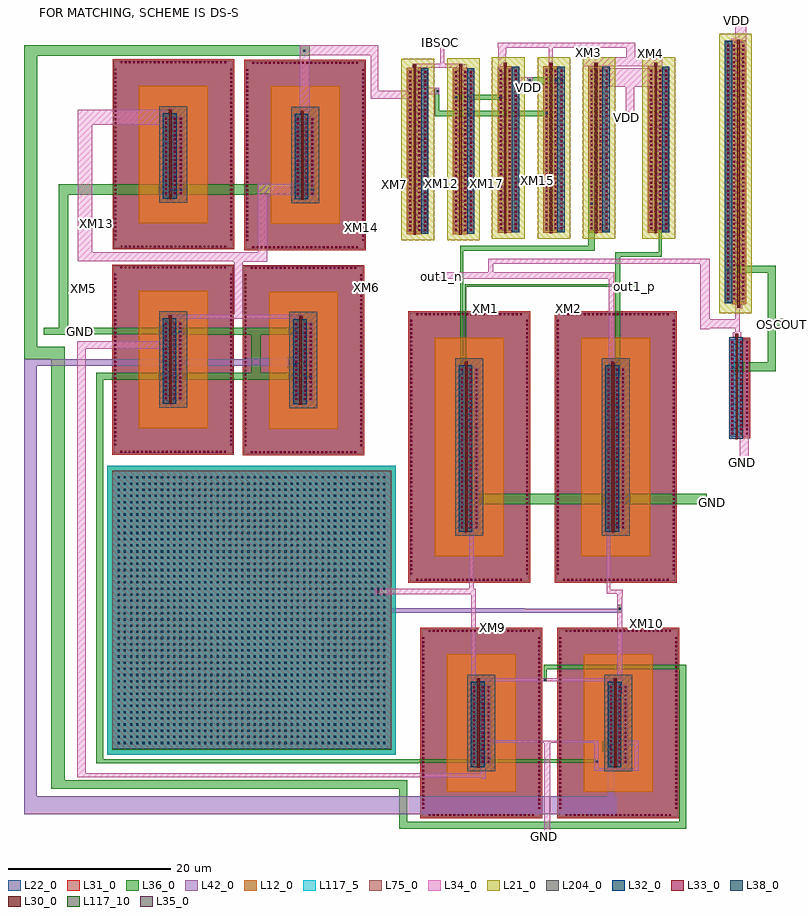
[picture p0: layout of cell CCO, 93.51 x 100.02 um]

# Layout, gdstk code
from math import pi, radians
import gdstk
lib = gdstk.Library(unit=1e-6, precision=5e-09)
def R(c, l, rs):  # rectangles x0, y0, x1, y1
    for r in rs: c.add(gdstk.rectangle(r[:2], r[2:], *l))
def A(c, l, x, y, w, h, nx, ny, dx, dy):  # array of equal rectangles
    R(c, l, [(x+i*dx, y+j*dy, x+i*dx+w, y+j*dy+h) for i in range(nx) for j in range(ny)])
def P(c, l, *ps):  # polygons
    for p in ps: c.add(gdstk.Polygon(p, *l))
L12_0 = (12, 0)
L21_0 = (21, 0)
L22_0 = (22, 0)
L30_0 = (30, 0)
L31_0 = (31, 0)
L32_0 = (32, 0)
L33_0 = (33, 0)
L34_0 = (34, 0)
L35_0 = (35, 0)
L36_0 = (36, 0)
L38_0 = (38, 0)
L42_0 = (42, 0)
L75_0 = (75, 0)
L117_5 = (117, 5)
L117_10 = (117, 10)
L204_0 = (204, 0)

pfet = lib.new_cell('pfet')
R(pfet, L21_0, [(-1.32,-0.99,2.71,21.37)])
R(pfet, L22_0, [(-0.46,0,1.85,20)])
P(pfet, L30_0, [(0.19,-0.3),(0.19,20.3),(0.14,20.3),(0.14,20.68),(0.52,20.68),(0.52,20.3),(0.47,20.3),(0.47,-0.3)])
R(pfet, L31_0, [(-0.63,-0.24,1.12,20.24)])
R(pfet, L32_0, [(1.12,-0.17,2.02,20.17)])
A(pfet, L33_0, -0.34, 0.2, 0.22, 0.22, 1, 39, 0, 0.51)
A(pfet, L33_0, 0.78, 0.2, 0.22, 0.22, 1, 39, 0, 0.51)
A(pfet, L33_0, 1.51, 0.2, 0.22, 0.22, 1, 39, 0, 0.51)
R(pfet, L33_0, [(0.22,20.38,0.44,20.6)])
R(pfet, L34_0, [(-0.42,0.12,-0.04,19.88), (0.7,0.12,1.08,19.88), (1.43,0.12,1.81,19.88), (0.14,20.3,0.52,20.68)])

nfet_7 = lib.new_cell('nfet$7')
R(nfet_7, L12_0, [(-3.55,-3.26,4.92,23.63)])
R(nfet_7, L22_0, [(-6.63,-6.34,8,26.71), (-0.42,0,1.79,20)])
P(nfet_7, L30_0, [(0.19,-0.3),(0.19,20.3),(0.15,20.3),(0.15,20.66),(0.51,20.66),(0.51,20.3),(0.47,20.3),(0.47,-0.3)])
R(nfet_7, L31_0, [(-6.8,-6.51,8.17,26.88), (1.08,-0.17,1.96,20.17)])
R(nfet_7, L32_0, [(-0.59,-0.24,1.08,20.24)])
A(nfet_7, L33_0, -5.8, -6.26, 0.22, 0.22, 26, 2, 0.51, 32.67)
A(nfet_7, L33_0, -6.55, -5.48, 0.22, 0.22, 1, 62, 0, 0.51)
A(nfet_7, L33_0, 7.7, -5.48, 0.22, 0.22, 1, 62, 0, 0.51)
A(nfet_7, L33_0, -0.32, 0.2, 0.22, 0.22, 1, 39, 0, 0.51)
A(nfet_7, L33_0, 0.76, 0.2, 0.22, 0.22, 1, 39, 0, 0.51)
A(nfet_7, L33_0, 1.47, 0.2, 0.22, 0.22, 1, 39, 0, 0.51)
R(nfet_7, L33_0, [(0.22,20.37,0.44,20.59)])
R(nfet_7, L34_0, [(-0.4,0.12,-0.02,19.88), (0.68,0.12,1.06,19.88), (1.39,0.12,1.77,19.88), (0.14,20.29,0.52,20.67)])
R(nfet_7, L204_0, [(-1.04,-0.75,2.41,21.12)])

nfet_5 = lib.new_cell('nfet$5')
R(nfet_5, L12_0, [(-3.55,-3.26,4.92,13.63)])
R(nfet_5, L22_0, [(-6.63,-6.34,8,16.71), (-0.42,0,1.79,10)])
P(nfet_5, L30_0, [(0.19,-0.3),(0.19,10.3),(0.15,10.3),(0.15,10.66),(0.51,10.66),(0.51,10.3),(0.47,10.3),(0.47,-0.3)])
R(nfet_5, L31_0, [(-6.8,-6.51,8.17,16.88), (1.08,-0.17,1.96,10.17)])
R(nfet_5, L32_0, [(-0.59,-0.24,1.08,10.24)])
A(nfet_5, L33_0, -5.8, -6.26, 0.22, 0.22, 26, 2, 0.51, 22.67)
A(nfet_5, L33_0, -6.55, -5.38, 0.22, 0.22, 1, 42, 0, 0.51)
A(nfet_5, L33_0, 7.7, -5.38, 0.22, 0.22, 1, 42, 0, 0.51)
A(nfet_5, L33_0, -0.32, 0.3, 0.22, 0.22, 1, 19, 0, 0.51)
A(nfet_5, L33_0, 0.76, 0.3, 0.22, 0.22, 1, 19, 0, 0.51)
A(nfet_5, L33_0, 1.47, 0.3, 0.22, 0.22, 1, 19, 0, 0.51)
R(nfet_5, L33_0, [(0.22,10.37,0.44,10.59)])
R(nfet_5, L34_0, [(-0.4,0.22,-0.02,9.78), (0.68,0.22,1.06,9.78), (1.39,0.22,1.77,9.78), (0.14,10.29,0.52,10.67)])
R(nfet_5, L204_0, [(-1.04,-0.75,2.41,11.12)])

text = lib.new_cell('TEXT')

cap_mim = lib.new_cell('cap_mim')
R(cap_mim, L36_0, [(-0.6,-0.6,34.92,34.92)])
A(cap_mim, L38_0, 0.69, 0.69, 0.26, 0.26, 44, 44, 0.76, 0.76)
R(cap_mim, L42_0, [(0,0,34.32,34.32)])
R(cap_mim, L75_0, [(0,0,34.32,34.32)])
R(cap_mim, L117_5, [(-0.6,-0.6,34.92,34.92)])
R(cap_mim, L117_10, [(0,0,34.32,0.1)])

pfet_2 = lib.new_cell('pfet$2')
R(pfet_2, L21_0, [(-1.32,-0.99,2.71,33.37)])
R(pfet_2, L22_0, [(-0.46,0,1.85,32)])
P(pfet_2, L30_0, [(0.19,-0.3),(0.19,32.3),(0.14,32.3),(0.14,32.68),(0.52,32.68),(0.52,32.3),(0.47,32.3),(0.47,-0.3)])
R(pfet_2, L31_0, [(-0.63,-0.24,1.12,32.24)])
R(pfet_2, L32_0, [(1.12,-0.17,2.02,32.17)])
A(pfet_2, L33_0, -0.34, 0.335, 0.22, 0.22, 1, 62, 0, 0.51)
A(pfet_2, L33_0, 0.78, 0.335, 0.22, 0.22, 1, 62, 0, 0.51)
A(pfet_2, L33_0, 1.51, 0.335, 0.22, 0.22, 1, 62, 0, 0.51)
R(pfet_2, L33_0, [(0.22,32.38,0.44,32.6)])
R(pfet_2, L34_0, [(-0.42,0.255,-0.04,31.745), (0.7,0.255,1.08,31.745), (1.43,0.255,1.81,31.745), (0.14,32.3,0.52,32.68)])

nfet = lib.new_cell('nfet')
R(nfet, L22_0, [(-0.42,0,1.79,12)])
P(nfet, L30_0, [(0.19,-0.3),(0.19,12.3),(0.15,12.3),(0.15,12.66),(0.51,12.66),(0.51,12.3),(0.47,12.3),(0.47,-0.3)])
R(nfet, L31_0, [(1.08,-0.17,1.96,12.17)])
R(nfet, L32_0, [(-0.59,-0.24,1.08,12.24)])
A(nfet, L33_0, -0.32, 0.28, 0.22, 0.22, 1, 23, 0, 0.51)
A(nfet, L33_0, 0.76, 0.28, 0.22, 0.22, 1, 23, 0, 0.51)
A(nfet, L33_0, 1.47, 0.28, 0.22, 0.22, 1, 23, 0, 0.51)
R(nfet, L33_0, [(0.22,12.37,0.44,12.59)])
R(nfet, L34_0, [(-0.4,0.2,-0.02,11.8), (0.68,0.2,1.06,11.8), (1.39,0.2,1.77,11.8), (0.14,12.29,0.52,12.67)])

cco = lib.new_cell('CCO')
R(cco, L22_0, [(-6.03,9.55,-5.51,9.91)])
R(cco, L34_0, [(30.9,-52.23,31.64,-40.45), (23.16,-45.12,23.73,-41.83), (-26.55,-44.95,-23.39,-44.43), (-26.55,-44.95,-25.5,-22.32), (-24.18,-44.95,8.85,-44.43), (6.64,-44.95,23.73,-44.43), (37.07,-44.13,37.56,-40.45), (37.07,-44.13,42.52,-43.84), (42.07,-44.13,42.52,-40.46), (40.72,-40.93,42.52,-40.46), (23.87,-40.67,29.69,-40.4), (29.47,-40.67,30.5,-40.45), (30.28,-40.67,33,-40.45), (32.49,-40.67,37.56,-40.45), (39.92,-34.7,40.49,-22.37), (21.955,-34.61,22.46,-22.06), (22.62,-33.16,39.85,-32.78), (-26.55,-24.33,-25.5,8.72), (40.03,-22.6,40.58,-21.85), (10.13,-22.45,22.46,-21.76), (21.67,-22.45,22.46,-21.76), (38.63,-22.37,40.58,-21.85), (38.63,-22.35,39.01,-13.31), (21.67,-22.06,22.24,-13.53), (54.95,-5.83,56.06,-1.87), (38.87,5.78,39.55,12.37), (-26.55,7.79,-15.65,8.72), (54.1,9.2,55.17,9.79), (54.44,9.2,54.97,13.28), (50.085,10.18,51.29,18.87), (50.085,10.28,54.97,11.43), (-15.3,11.48,1.12,11.93), (-7.22,11.48,-6.21,18.79), (38.87,11.81,39.55,17.18), (54.44,12.72,55.27,13.28), (18.01,16.4,39.55,17.18), (24.04,16.4,24.65,18.87), (24.345,17.635,24.65,18.87), (24.04,18.25,51.29,18.87), (-7.39,18.51,-3.16,19.64), (-4.35,18.51,-3.16,28.08), (-26.5,18.52,-24.7,37.17), (-26.48,18.52,-6.49,19.64), (-7.5,18.52,-6.49,19.64), (-4.35,26.65,0.78,28.08), (-26.5,35.33,-23.42,37.17), (-24.88,35.33,-14.89,37.17), (0.81,35.78,2.05,45.09), (40.92,36.85,42.01,42.29), (9.56,38.56,14.6,39.55), (9.56,38.66,10.46,45.09), (15.34,39.06,18.01,39.92), (37.46,40.04,45.37,42.29), (26.49,40.32,29.48,41.2), (20.43,41.52,21.37,42.8), (25.27,41.9,26.2,44.37), (14.66,42.36,20.87,42.83), (18.14,42.36,18.58,45.48), (35.63,42.53,45.41,43.66), (40.98,42.53,42.13,45.43), (31.44,42.59,31.93,45.43), (0.81,43.88,10.46,45.09), (25.26,44.02,26.24,45.43), (53.89,44.71,55.78,45.92), (54.4,44.71,55.78,47.79), (25.19,44.81,41.4,45.43)])
P(cco, L34_0, [(50.04,18.87),(50.04,18.87),(50.13,18.87),(50.13,18.87)])
R(cco, L35_0, [(37.24,-43.17,37.5,-42.91), (38.855,-41.24,39.115,-40.98), (30.92,-33.105,31.18,-32.845), (10.36,-22.22,10.62,-21.96), (2.02,4.255,2.28,4.515), (20.65,4.54,20.91,4.8), (39.77,4.54,40.03,4.8), (53.89,5.345,54.15,5.605), (0.245,5.76,0.505,6.02), (-14.74,9.75,-14.48,10.01), (-14.05,9.75,-13.79,10.01), (0.23,9.75,0.49,10.01), (20.65,16.59,20.91,16.85), (53.44,17.34,53.7,17.6), (36.6,25.5,36.86,25.76), (45.05,25.5,45.31,25.76), (-13.92,27.22,-13.66,27.48), (2.27,27.22,2.53,27.48), (-15.15,27.225,-14.89,27.485), (-14.67,27.225,-14.41,27.485), (31.09,36.62,31.35,36.88), (19.97,38.575,20.23,38.835), (21.73,38.575,21.99,38.835), (25.4,38.6,25.66,38.86), (17.67,39.34,17.93,39.6), (29,40.67,29.26,40.93), (32.19,40.67,32.45,40.93), (32.96,40.67,33.22,40.93), (1.23,44.31,1.49,44.57)])
R(cco, L36_0, [(13.07,-51.31,48.38,-50.44), (13.07,-51.31,14.07,-45.32), (47.52,-51.31,48.38,-31.11), (-29.74,-46.36,0.9,-45.32), (-29.74,-46.36,-28.06,8.05), (-1.28,-46.36,14.07,-45.32), (-24.22,-43.23,-7.22,-42.75), (-24.22,-43.23,-23.33,-28.52), (-7.8,-43.23,15.38,-42.75), (14.39,-43.17,37.5,-42.75), (38.035,-41.82,39.735,-40.49), (30.84,-33.16,31.235,-31.11), (30.84,-31.65,48.38,-31.11), (-24.22,-29.49,-23.33,-6.04), (39.92,-24.68,40.49,-23.73), (3.77,-23.25,11.24,-19.58), (22.38,-11.35,43.95,-10.04), (41.96,-11.35,50.92,-10.04), (-24.22,-6.98,-23.33,4.82), (20.58,3.07,20.97,20.43), (-24.22,3.96,1.66,4.82), (-5.13,3.96,-3.99,10.34), (1.06,3.96,2.37,4.82), (39.63,4.46,40.28,19.66), (53.87,5,59.39,6.13), (58.4,5,59.39,17.99), (-0.63,5.4,1.07,6.73), (21.13,5.78,21.32,15.73), (-33.1,6.5,-28.06,8.05), (-33.1,6.5,-31.46,45.13), (-14.88,9.49,0.58,10.34), (-30.64,9.5,-26,10.34), (-28.84,9.5,-27.66,28.01), (-28.84,9.5,-26,10.34), (-26.51,9.54,-14.38,10.34), (-14.88,9.76,0.39,10.34), (-28.84,10.46,-28.32,10.77), (58.4,10.54,60.41,11.495), (21.13,15.4,42.34,15.73), (53.34,17.11,59.4,17.99), (39.63,19.07,45.37,19.66), (44.99,19.07,45.37,28.9), (20.58,19.81,37.14,20.43), (20.58,19.81,21.71,20.43), (36.32,19.81,37.14,28.78), (-28.84,26.72,-22.63,28.01), (-23.25,26.72,-14.35,28.01), (-14.65,26.72,-4.9,28.01), (-5.8,26.78,2.59,28.01), (17.44,36.38,31.37,37.04), (17.44,36.41,18.01,39.92), (19.87,38.41,25.75,39.03), (28.85,40.3,33.22,41.2), (32.11,40.96,32.19,41.23), (-33.1,43.85,2.05,45.13)])
R(cco, L38_0, [(38.85,-41.25,39.11,-40.99), (40.08,-24.325,40.34,-24.065), (40.08,-24.325,40.34,-24.065), (0.24,5.75,0.5,6.01)])
R(cco, L42_0, [(38.74,-49.6,39.52,-40.28), (-33.1,-49.49,-31.51,-12.77), (-33.1,-49.49,22.91,-47.31), (21.52,-49.49,39.76,-47.31), (10.35,-24.68,28.45,-24.14), (27.89,-24.68,40.49,-24.195), (-33.1,-14.45,-31.51,6.5), (-33.1,4.57,-32.28,6.09), (-33.1,5.68,-3.23,6.5), (-5.73,5.68,1.58,6.63)])
cco.add(gdstk.Reference(pfet, (36.95,22.29)))
cco.add(gdstk.Reference(pfet, (31.41,22.29)))
cco.add(gdstk.Reference(pfet, (25.79,22.29)))
cco.add(gdstk.Reference(pfet, (14.64,22.09)))
cco.add(gdstk.Reference(nfet_7, (20.99,-14.51)))
cco.add(gdstk.Reference(nfet_7, (39.03,-14.51)))
cco.add(gdstk.Reference(nfet_5, (-15.44,1.26)))
cco.add(gdstk.Reference(nfet_5, (0.6,1.19)))
cco.add(gdstk.Reference(nfet_5, (22.48,-43.45)))
cco.add(gdstk.Reference(nfet_5, (39.33,-43.45)))
cco.add(gdstk.Reference(pfet, (44.29,22.29)))
cco.add(gdstk.Reference(text, (17.13,16.86)))
cco.add(gdstk.Reference(text, (17.56,16.62)))
cco.add(gdstk.Reference(text, (17.45,16.72)))
cco.add(gdstk.Reference(text, (17.5,16.57)))
cco.add(gdstk.Reference(text, (17.64,16.8)))
cco.add(gdstk.Reference(text, (17.55,16.85)))
cco.add(gdstk.Reference(text, (17.4,16.98)))
cco.add(gdstk.Reference(text, (18.36,16.76)))
cco.add(gdstk.Reference(text, (18.36,16.76)))
cco.add(gdstk.Reference(nfet_5, (-15.41,26.5)))
cco.add(gdstk.Reference(nfet_5, (0.8,26.43)))
cco.add(gdstk.Reference(pfet, (20.29,22.12)))
cco.add(gdstk.Reference(cap_mim, (-22.26,-41.55)))
cco.add(gdstk.Reference(pfet_2, (55.15,45.52), rotation=pi))
cco.add(gdstk.Reference(nfet, (54.27,-3.04)))
cco.add(gdstk.Label('IBSOC', (18.14,45.48), layer=34, texttype=0))
cco.add(gdstk.Label('VDD', (40.99,36.23), layer=34, texttype=0))
cco.add(gdstk.Label('VDD', (29,39.9), layer=34, texttype=0))
cco.add(gdstk.Label('GND', (55.32,-6.27), layer=34, texttype=0))
cco.add(gdstk.Label('VDD', (54.56,48.11), layer=34, texttype=0))
cco.add(gdstk.Label('out1_n', (18.29,16.63), layer=34, texttype=0))
cco.add(gdstk.Label('out1_p', (42.03,15.49), layer=34, texttype=0))
cco.add(gdstk.Label('GND', (30.9,-52.23), layer=34, texttype=0))
cco.add(gdstk.Label('GND', (-26.13,9.92), layer=22, texttype=0))
cco.add(gdstk.Label('XM1', (23.7,12.73), layer=22, texttype=0))
cco.add(gdstk.Label('XM2', (33.93,12.79), layer=22, texttype=0))
cco.add(gdstk.Label('XM3', (36.31,44.23), layer=22, texttype=0))
cco.add(gdstk.Label('XM10', (43.54,-26.04), layer=22, texttype=0))
cco.add(gdstk.Label('XM9', (24.51,-26.5), layer=22, texttype=0))
cco.add(gdstk.Label('XM6', (9.02,15.28), layer=22, texttype=0))
cco.add(gdstk.Label('XM5', (-25.76,15.23), layer=22, texttype=0))
cco.add(gdstk.Label('XM13', (-24.18,23.24), layer=22, texttype=0))
cco.add(gdstk.Label('XM14', (8.47,22.69), layer=22, texttype=0))
cco.add(gdstk.Label('XM7', (12.48,27.95), layer=22, texttype=0))
cco.add(gdstk.Label('XM12', (18.29,28.14), layer=22, texttype=0))
cco.add(gdstk.Label('XM17', (23.84,28.15), layer=22, texttype=0))
cco.add(gdstk.Label('XM15', (30.09,28.48), layer=22, texttype=0))
cco.add(gdstk.Label('XM4', (43.98,44.06), layer=22, texttype=0))
cco.add(gdstk.Label('FOR MATCHING, SCHEME IS DS-SD FOR ANY TWO CONSECUTIVE TRANSISTOR PAIRS', (-18.9,49.1), layer=12, texttype=0))
cco.add(gdstk.Label('OSCOUT', (60.57,10.76), layer=36, texttype=0))
cco.add(gdstk.Label('GND', (51.65,-11.15), layer=36, texttype=0))

lib.write_gds('CCO.gds')
